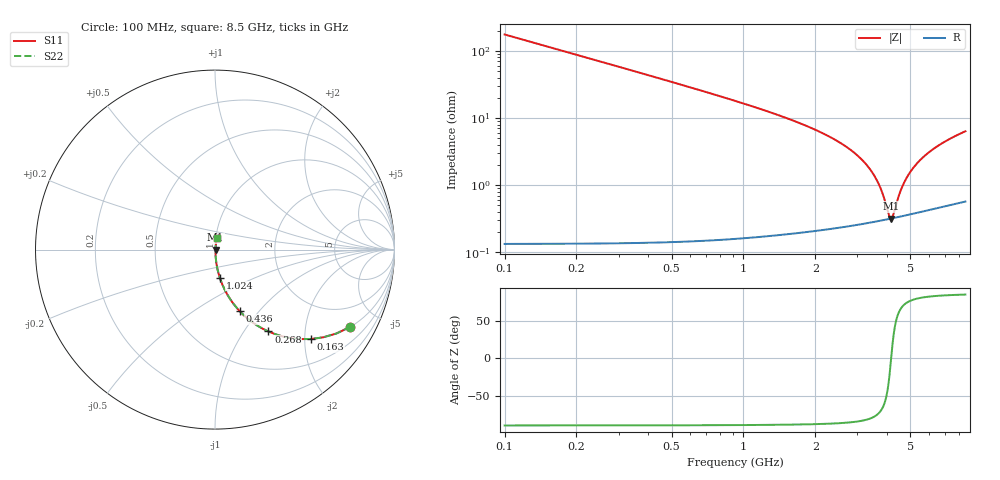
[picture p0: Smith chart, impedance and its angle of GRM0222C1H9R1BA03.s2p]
!Murata Part Number: GRM0222C1H9R1BA03
!These Parameters are Measured in Series Mode Connection
!Data Generated on Mar 30, 2021
!  o--ll--o
!Port1  Port2
!  o------o
!Operation Temp=25[degC], DC Bias Voltage=0[V]
!Freq. Start=100[MHz] Stop=9[GHz] 401[Steps]
# Hz S RI R 50
!Freq.(Hz) S11(Real) S11(Imag) S21(Real) S21(Imag) S12(Real) S12(Imag) S22(Real) S22(Imag)
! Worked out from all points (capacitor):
!   401 points, 100 MHz to 8.5 GHz, reference 50 ohm
!   read as one part in series: C = 9.1 pF near 142 MHz
!   lowest |Z| = 319 mohm at 4.153 GHz (marker M1)
!   series resonance near 4.155 GHz, so ESL is about 160 pH
!   S11 on the Smith chart (normalised r, x): 100 MHz: 1.00, -3.50; 163 MHz: 1.00, -2.14; 268 MHz: 1.00, -1.30; 436 MHz: 1.00, -0.79; 1.024 GHz: 1.00, -0.32; 8.5 GHz: 1.01, +0.13
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1e8  0.7532 -0.4307  0.2468 0.4307  0.2468 0.4307  0.7532 -0.4307
1.63e8  0.5343 -0.4982  0.4657 0.4982  0.4657 0.4982  0.5343 -0.4982
2.68e8  0.2972 -0.456  0.7028 0.456  0.7028 0.456  0.2972 -0.456
3.52e8  0.1963 -0.3958  0.8037 0.3958  0.8037 0.3958  0.1963 -0.3958
4.36e8  0.1367 -0.3418  0.8633 0.3418  0.8633 0.3418  0.1367 -0.3418
6.67e8  0.0624 -0.2389  0.9376 0.2389  0.9376 0.2389  0.0624 -0.2389
1.024e9  0.0265 -0.1556  0.9735 0.1556  0.9735 0.1556  0.0265 -0.1556
1.507e9  0.0118 -0.099  0.9882 0.099  0.9882 0.099  0.0118 -0.099
2.914e9  0.00343 -0.03  0.9966 0.03  0.9966 0.03  0.00343 -0.03
3.292e9  0.00309 -0.0195  0.9969 0.0195  0.9969 0.0195  0.00309 -0.0195
3.586e9  0.00302 -0.0122  0.997 0.0122  0.997 0.0122  0.00302 -0.0122
3.817e9  0.00305 -0.00702  0.997 0.00702  0.997 0.00702  0.00305 -0.00702
4.069e9  0.00314 -0.00173  0.9969 0.00173  0.9969 0.00173  0.00314 -0.00173
4.153e9  0.00318 -4.55e-05  0.9968 4.55e-05  0.9968 4.55e-05  0.00318 -4.55e-05
4.216e9  0.00322 0.00119  0.9968 -0.00119  0.9968 -0.00119  0.00322 0.00119
4.3e9  0.00327 0.00282  0.9967 -0.00282  0.9967 -0.00282  0.00327 0.00282
4.531e9  0.00345 0.00713  0.9966 -0.00713  0.9966 -0.00713  0.00345 0.00713
4.825e9  0.00372 0.0123  0.9963 -0.0123  0.9963 -0.0123  0.00372 0.0123
5.203e9  0.00414 0.0186  0.9959 -0.0186  0.9959 -0.0186  0.00414 0.0186
5.707e9  0.00479 0.0263  0.9952 -0.0263  0.9952 -0.0263  0.00479 0.0263
7.114e9  0.007 0.0455  0.993 -0.0455  0.993 -0.0455  0.007 0.0455
8.5e9  0.00959 0.0622  0.9904 -0.0622  0.9904 -0.0622  0.00959 0.0622
